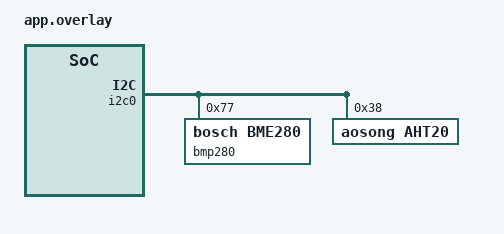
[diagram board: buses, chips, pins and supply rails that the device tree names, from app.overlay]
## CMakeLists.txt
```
cmake_minimum_required(VERSION 3.20.0)

find_package(Zephyr REQUIRED HINTS $ENV{ZEPHYR_BASE})

project(zigbee_weather)

target_sources(app PRIVATE
    src/main.c
)
```

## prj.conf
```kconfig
CONFIG_I2C=y
CONFIG_SENSOR=y
CONFIG_ADC=y

CONFIG_GPIO=y

CONFIG_PRINTK=y
CONFIG_CONSOLE=y
CONFIG_SERIAL=y

CONFIG_BUILD_OUTPUT_UF2=y

CONFIG_ZIGBEE_ADD_ON=y
CONFIG_ZIGBEE_APP_UTILS=y
CONFIG_ZIGBEE_ROLE_END_DEVICE=y
CONFIG_ZIGBEE_FACTORY_RESET=y
CONFIG_ZIGBEE_TC_REJOIN_ENABLED=y
CONFIG_ZIGBEE_NVRAM_PAGE_COUNT=2
CONFIG_ZIGBEE_CHANNEL_SELECTION_MODE_MULTI=y
CONFIG_ZIGBEE_CHANNEL_MASK=0x07FFF800

CONFIG_ZBOSS_DEFAULT_THREAD_STACK_SIZE=5120

CONFIG_MAIN_THREAD_PRIORITY=7
CONFIG_HEAP_MEM_POOL_SIZE=2048

CONFIG_LOG=y
CONFIG_LOG_MODE_DEFERRED=y
CONFIG_LOG_BACKEND_UART=y
CONFIG_LOG_DEFAULT_LEVEL=3
CONFIG_LOG_PROCESS_THREAD_STACK_SIZE=2048
```

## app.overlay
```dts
&i2c0 {
    status = "okay";

    bmp280: bmp280@77 {
        compatible = "bosch,bme280";
        reg = <0x77>;
    };

    aht20: aht20@38 {
        compatible = "aosong,aht20";
        reg = <0x38>;
    };
};

&flash0 {
    partitions {
        compatible = "fixed-partitions";
        #address-cells = <1>;
        #size-cells = <1>;

        /*
         * ZBOSS NVRAM:
         * 0x8000 = 32 KB
         * 2 logical pages -> 16 KB each
         * 16 KB is a multiple of the nRF52840 4 KB flash page.
         */
        zboss_nvram: partition@ec000 {
            label = "zboss_nvram";
            reg = <0x000ec000 0x00008000>;
        };

        zboss_product_config: partition@f4000 {
            label = "zboss_product_config";
            reg = <0x000f4000 0x00001000>;
        };
    };
};
```

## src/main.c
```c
#include <zephyr/kernel.h>
#include <zephyr/device.h>
#include <zephyr/drivers/i2c.h>
#include <zephyr/drivers/sensor.h>
#include <zephyr/drivers/adc.h>
#include <zephyr/drivers/gpio.h>
#include <zephyr/dt-bindings/adc/nrf-saadc.h>
#include <zephyr/logging/log.h>

#include <zboss_api.h>
#include <zboss_api_addons.h>
#include <zb_nrf_platform.h>

#include <zcl/zb_zcl_common.h>
#include <zcl/zb_zcl_basic.h>
#include <zcl/zb_zcl_temp_measurement.h>
#include <zcl/zb_zcl_pressure_measurement.h>
#include <zcl/zb_zcl_rel_humidity_measurement.h>
#include <zcl/zb_zcl_power_config.h>
#include <zcl/zb_zcl_poll_control.h>
#include <zcl/zb_zcl_reporting.h>

#include <zigbee/zigbee_app_utils.h>

#include <string.h>

LOG_MODULE_REGISTER(weather, LOG_LEVEL_INF);

/* --------------------------------------------------------------------------
 * Hardware
 * -------------------------------------------------------------------------- */

#define I2C_NODE DT_NODELABEL(i2c0)
#define BMP280_NODE DT_NODELABEL(bmp280)
#define ADC_NODE DT_NODELABEL(adc)

#define AHT20_ADDR DT_REG_ADDR(DT_NODELABEL(aht20))
#define AHT20_CMD_TRIGGER 0xAC

#define ADC_RESOLUTION 14

/* Button for factory reset */
#define BUTTON_NODE DT_ALIAS(sw0)
static const struct gpio_dt_spec button_gpio = 
    GPIO_DT_SPEC_GET_OR(BUTTON_NODE, gpios, {0});

#define BUTTON_PRESS_TIME_MS 3000
#define BUTTON_CHECK_INTERVAL_MS 50

/* --------------------------------------------------------------------------
 * Zigbee
 * -------------------------------------------------------------------------- */

#define WEATHER_ENDPOINT 1
#define WEATHER_IN_CLUSTER_COUNT 5
#define WEATHER_OUT_CLUSTER_COUNT 0

/* --------------------------------------------------------------------------
 * Application
 * -------------------------------------------------------------------------- */

#define MEASUREMENT_INTERVAL_SECONDS 15

/* --------------------------------------------------------------------------
 * Battery
 * -------------------------------------------------------------------------- */

#define BATTERY_LOW_WARNING_MV 2700

/* --------------------------------------------------------------------------
 * Persistent Zigbee configuration
 * -------------------------------------------------------------------------- */

#define ERASE_PERSISTENT_CONFIG ZB_FALSE

/* --------------------------------------------------------------------------
 * ZCL attributes
 * -------------------------------------------------------------------------- */

static zb_int16_t temperature;
static zb_int16_t pressure;
static zb_uint16_t humidity;

static zb_uint16_t battery_voltage;
static zb_uint8_t battery_percentage_remaining = 0xFF;
static zb_uint8_t battery_size = 0xFF;
static zb_uint8_t battery_quantity = 1;
static zb_uint16_t battery_rated_voltage = 3300;
static zb_uint8_t battery_alarm_mask = 0;
static zb_uint16_t battery_voltage_min_threshold =
	BATTERY_LOW_WARNING_MV;
static zb_uint8_t battery_voltage_threshold1 = 0;
static zb_uint8_t battery_voltage_threshold2 = 0;
static zb_uint8_t battery_voltage_threshold3 = 0;
static zb_uint8_t battery_percentage_min_threshold = 0;
static zb_uint8_t battery_percentage_threshold1 = 0;
static zb_uint8_t battery_percentage_threshold2 = 0;
static zb_uint8_t battery_percentage_threshold3 = 0;
static zb_uint32_t battery_alarm_state = 0;

/* --------------------------------------------------------------------------
 * Basic Cluster Strings (для корректного определения в z2m)
 * -------------------------------------------------------------------------- */
static zb_uint8_t manufacturer_name[] = { 7, 'C', 't', 'h', 'u', 'l', 'h', 'u' };
static zb_uint8_t model_identifier[] = { 12, 'R', 'l', 'y', 'e', 'h', 'S', 't', 'a', 't', 'i', 'o', 'n' };
static zb_uint8_t date_code[] = { 8, '2', '0', '2', '6', '0', '9', '2', '8' };
static zb_uint8_t sw_build_id[] = { 5, '1', '.', '0', '.', '0' };
static zb_uint8_t location[] = { 2, 'R', 'U' };

/* --------------------------------------------------------------------------
 * ZCL attribute lists
 * -------------------------------------------------------------------------- */

ZB_ZCL_DECLARE_BASIC_ATTRIB_LIST_EXT(
	basic_attr_list,
	3,                                  // 1. ZCL version
	0,                                  // 2. App device version
	ZB_ZCL_BASIC_POWER_SOURCE_BATTERY,  // 3. Power source (0x03 = Battery)
	1,                                  // 4. HW version
	manufacturer_name,                  // 5. Manufacturer name
	model_identifier,                   // 6. Model identifier
	date_code,                          // 7. Date code
	sw_build_id,                        // 8. SW build ID
	0,                                  // 9. Image type
	2,                                  // 10. Stack version
	location                            // 11. Location (всего 12 аргументов с basic_attr_list)
);


ZB_ZCL_DECLARE_TEMP_MEASUREMENT_ATTRIB_LIST(
	temperature_attr_list,
	&temperature,
	NULL,
	NULL,
	NULL
);

ZB_ZCL_DECLARE_PRESSURE_MEASUREMENT_ATTRIB_LIST(
	pressure_attr_list,
	&pressure,
	NULL,
	NULL,
	NULL
);

ZB_ZCL_DECLARE_REL_HUMIDITY_MEASUREMENT_ATTRIB_LIST(
	humidity_attr_list,
	&humidity,
	NULL,
	NULL
);



ZB_ZCL_DECLARE_POWER_CONFIG_BATTERY_ATTRIB_LIST_EXT(
	power_config_attr_list,
	&battery_voltage,
	&battery_size,
	&battery_quantity,
	&battery_rated_voltage,
	&battery_alarm_mask,
	&battery_voltage_min_threshold,
	&battery_percentage_remaining,
	&battery_voltage_threshold1,
	&battery_voltage_threshold2,
	&battery_voltage_threshold3,
	&battery_percentage_min_threshold,
	&battery_percentage_threshold1,
	&battery_percentage_threshold2,
	&battery_percentage_threshold3,
	&battery_alarm_state
);

/* --------------------------------------------------------------------------
 * Cluster list
 * -------------------------------------------------------------------------- */

static zb_zcl_cluster_desc_t cluster_list[] = {
	ZB_ZCL_CLUSTER_DESC(
		ZB_ZCL_CLUSTER_ID_BASIC,
		ZB_ZCL_ARRAY_SIZE(
			basic_attr_list,
			zb_zcl_attr_t
		),
		basic_attr_list,
		ZB_ZCL_CLUSTER_SERVER_ROLE,
		ZB_ZCL_MANUF_CODE_INVALID
	),

	ZB_ZCL_CLUSTER_DESC(
		ZB_ZCL_CLUSTER_ID_TEMP_MEASUREMENT,
		ZB_ZCL_ARRAY_SIZE(
			temperature_attr_list,
			zb_zcl_attr_t
		),
		temperature_attr_list,
		ZB_ZCL_CLUSTER_SERVER_ROLE,
		ZB_ZCL_MANUF_CODE_INVALID
	),

	ZB_ZCL_CLUSTER_DESC(
		ZB_ZCL_CLUSTER_ID_PRESSURE_MEASUREMENT,
		ZB_ZCL_ARRAY_SIZE(
			pressure_attr_list,
			zb_zcl_attr_t
		),
		pressure_attr_list,
		ZB_ZCL_CLUSTER_SERVER_ROLE,
		ZB_ZCL_MANUF_CODE_INVALID
	),

	ZB_ZCL_CLUSTER_DESC(
		ZB_ZCL_CLUSTER_ID_REL_HUMIDITY_MEASUREMENT,
		ZB_ZCL_ARRAY_SIZE(
			humidity_attr_list,
			zb_zcl_attr_t
		),
		humidity_attr_list,
		ZB_ZCL_CLUSTER_SERVER_ROLE,
		ZB_ZCL_MANUF_CODE_INVALID
	),

	ZB_ZCL_CLUSTER_DESC(
		ZB_ZCL_CLUSTER_ID_POWER_CONFIG,
		ZB_ZCL_ARRAY_SIZE(
			power_config_attr_list,
			zb_zcl_attr_t
		),
		power_config_attr_list,
		ZB_ZCL_CLUSTER_SERVER_ROLE,
		ZB_ZCL_MANUF_CODE_INVALID
	)
};

/* --------------------------------------------------------------------------
 * Zigbee simple descriptor
 * -------------------------------------------------------------------------- */

typedef ZB_PACKED_PRE struct weather_simple_desc_s {
	zb_uint8_t endpoint;
	zb_uint16_t app_profile_id;
	zb_uint16_t app_device_id;
	zb_bitfield_t app_device_version : 4;
	zb_bitfield_t reserved : 4;
	zb_uint8_t app_input_cluster_count;
	zb_uint8_t app_output_cluster_count;
	zb_uint16_t app_cluster_list[
		WEATHER_IN_CLUSTER_COUNT +
		WEATHER_OUT_CLUSTER_COUNT
	];
} ZB_PACKED_STRUCT weather_simple_desc_t;

static weather_simple_desc_t simple_desc_weather = {
	WEATHER_ENDPOINT,
	ZB_AF_HA_PROFILE_ID,
	ZB_HA_TEMPERATURE_SENSOR_DEVICE_ID,
	0,
	0,
	WEATHER_IN_CLUSTER_COUNT,
	WEATHER_OUT_CLUSTER_COUNT,
	{
		ZB_ZCL_CLUSTER_ID_BASIC,
		ZB_ZCL_CLUSTER_ID_TEMP_MEASUREMENT,
		ZB_ZCL_CLUSTER_ID_PRESSURE_MEASUREMENT,
		ZB_ZCL_CLUSTER_ID_REL_HUMIDITY_MEASUREMENT,
		ZB_ZCL_CLUSTER_ID_POWER_CONFIG
	}
};

/* --------------------------------------------------------------------------
 * Zigbee reporting
 * -------------------------------------------------------------------------- */

#define WEATHER_REPORT_ATTR_COUNT 4

ZBOSS_DEVICE_DECLARE_REPORTING_CTX(
	weather_reporting_info,
	WEATHER_REPORT_ATTR_COUNT
);

/* --------------------------------------------------------------------------
 * Endpoint
 * -------------------------------------------------------------------------- */

ZB_AF_DECLARE_ENDPOINT_DESC(
	weather_endpoint,
	WEATHER_ENDPOINT,
	ZB_AF_HA_PROFILE_ID,
	0,
	NULL,
	ZB_ZCL_ARRAY_SIZE(
		cluster_list,
		zb_zcl_cluster_desc_t
	),
	cluster_list,
	(zb_af_simple_desc_1_1_t *)&simple_desc_weather,
	WEATHER_REPORT_ATTR_COUNT,
	weather_reporting_info,
	0,
	NULL
);

/* --------------------------------------------------------------------------
 * Device context
 * -------------------------------------------------------------------------- */

ZBOSS_DECLARE_DEVICE_CTX_1_EP(
	weather_device_ctx,
	weather_endpoint
);

/* --------------------------------------------------------------------------
 * AHT20
 * -------------------------------------------------------------------------- */

static int read_aht20(const struct device *i2c)
{
	uint8_t command[3] = {
		AHT20_CMD_TRIGGER,
		0x33,
		0x00
	};

	uint8_t raw[7];

	int ret = i2c_write(
		i2c,
		command,
		sizeof(command),
		AHT20_ADDR
	);

	if (ret) {
		LOG_ERR("AHT20 write failed: %d", ret);
		return ret;
	}

	k_msleep(120);

	ret = i2c_read(
		i2c,
		raw,
		sizeof(raw),
		AHT20_ADDR
	);

	if (ret) {
		LOG_ERR("AHT20 read failed: %d", ret);
		return ret;
	}

	uint32_t raw_humidity =
		((uint32_t)raw[1] << 12) |
		((uint32_t)raw[2] << 4) |
		((uint32_t)raw[3] >> 4);

	uint32_t raw_temperature =
		((uint32_t)(raw[3] & 0x0F) << 16) |
		((uint32_t)raw[4] << 8) |
		raw[5];

	uint32_t humidity_x100 =
		((uint64_t)raw_humidity * 10000ULL + 524288ULL) /
		1048576ULL;

	int32_t temperature_x100 =
		(((int64_t)raw_temperature * 20000LL + 524288LL) /
		1048576LL) -
		5000LL;

	temperature = (zb_int16_t)temperature_x100;
	humidity = (zb_uint16_t)humidity_x100;

	return 0;
}

/* --------------------------------------------------------------------------
 * BMP280
 * -------------------------------------------------------------------------- */

static int read_bmp280(const struct device *bmp280)
{
	struct sensor_value pressure_value;

	int ret = sensor_sample_fetch(bmp280);

	if (ret) {
		LOG_ERR("BMP280 sample fetch failed: %d", ret);
		return ret;
	}

	ret = sensor_channel_get(
		bmp280,
		SENSOR_CHAN_PRESS,
		&pressure_value
	);

	if (ret) {
		LOG_ERR("BMP280 pressure read failed: %d", ret);
		return ret;
	}

	int32_t pressure_x10 =
        pressure_value.val1 * 10 +
        (pressure_value.val2 + 50000) / 100000;

    pressure = (zb_int16_t)pressure_x10;

	return 0;
}

/* --------------------------------------------------------------------------
 * VDD
 * -------------------------------------------------------------------------- */

static int read_vdd(const struct device *adc, int32_t *vdd_mv)
{

	int16_t sample = 0;

	struct adc_sequence sequence = {
		.channels = BIT(0),
		.buffer = &sample,
		.buffer_size = sizeof(sample),
		.resolution = ADC_RESOLUTION,
	};

	int ret = adc_read(
		adc,
		&sequence
	);

	if (ret) {
		LOG_ERR("ADC read failed: %d", ret);
		return ret;
	}

	*vdd_mv =
		((int32_t)sample * 3600 + (1 << (ADC_RESOLUTION - 1))) /
		(1 << ADC_RESOLUTION);

		battery_voltage = (zb_uint16_t)(*vdd_mv);

	if (*vdd_mv < BATTERY_LOW_WARNING_MV) {
		LOG_WRN(
			"Low battery voltage: %d.%03d V",
			*vdd_mv / 1000,
			*vdd_mv % 1000
		);
	}

	return 0;
}

/* --------------------------------------------------------------------------
 * Configure Zigbee reporting
 * -------------------------------------------------------------------------- */

static void configure_reporting(void)
{
	zb_zcl_reporting_info_t reporting;

	/* Temperature */

	memset(&reporting, 0, sizeof(reporting));

	reporting.direction =
		ZB_ZCL_CONFIGURE_REPORTING_SEND_REPORT;
	reporting.ep = WEATHER_ENDPOINT;
	reporting.cluster_id =
		ZB_ZCL_CLUSTER_ID_TEMP_MEASUREMENT;
	reporting.cluster_role =
		ZB_ZCL_CLUSTER_SERVER_ROLE;
	reporting.attr_id =
		ZB_ZCL_ATTR_TEMP_MEASUREMENT_VALUE_ID;
	reporting.dst.short_addr = 0x0000;
	reporting.dst.endpoint = 1;
	reporting.dst.profile_id = ZB_AF_HA_PROFILE_ID;
	reporting.u.send_info.min_interval = 0;
	reporting.u.send_info.max_interval =
		MEASUREMENT_INTERVAL_SECONDS;
	reporting.u.send_info.delta.u16 = 1;

	zb_zcl_put_reporting_info(
		&reporting,
		ZB_TRUE
	);

	/* Pressure */

	memset(&reporting, 0, sizeof(reporting));

	reporting.direction =
		ZB_ZCL_CONFIGURE_REPORTING_SEND_REPORT;
	reporting.ep = WEATHER_ENDPOINT;
	reporting.cluster_id =
		ZB_ZCL_CLUSTER_ID_PRESSURE_MEASUREMENT;
	reporting.cluster_role =
		ZB_ZCL_CLUSTER_SERVER_ROLE;
	reporting.attr_id =
		ZB_ZCL_ATTR_PRESSURE_MEASUREMENT_VALUE_ID;
	reporting.dst.short_addr = 0x0000;
	reporting.dst.endpoint = 1;
	reporting.dst.profile_id = ZB_AF_HA_PROFILE_ID;
	reporting.u.send_info.min_interval = 0;
	reporting.u.send_info.max_interval =
		MEASUREMENT_INTERVAL_SECONDS;
	reporting.u.send_info.delta.u16 = 1;

	zb_zcl_put_reporting_info(
		&reporting,
		ZB_TRUE
	);

	/* Relative humidity */

	memset(&reporting, 0, sizeof(reporting));

	reporting.direction =
		ZB_ZCL_CONFIGURE_REPORTING_SEND_REPORT;
	reporting.ep = WEATHER_ENDPOINT;
	reporting.cluster_id =
		ZB_ZCL_CLUSTER_ID_REL_HUMIDITY_MEASUREMENT;
	reporting.cluster_role =
		ZB_ZCL_CLUSTER_SERVER_ROLE;
	reporting.attr_id =
		ZB_ZCL_ATTR_REL_HUMIDITY_MEASUREMENT_VALUE_ID;
	reporting.dst.short_addr = 0x0000;
	reporting.dst.endpoint = 1;
	reporting.dst.profile_id = ZB_AF_HA_PROFILE_ID;
	reporting.u.send_info.min_interval = 0;
	reporting.u.send_info.max_interval =
		MEASUREMENT_INTERVAL_SECONDS;
	reporting.u.send_info.delta.u16 = 1;

	zb_zcl_put_reporting_info(
		&reporting,
		ZB_TRUE
	);

	/* Battery voltage */

	memset(&reporting, 0, sizeof(reporting));

	reporting.direction =
		ZB_ZCL_CONFIGURE_REPORTING_SEND_REPORT;
	reporting.ep = WEATHER_ENDPOINT;
	reporting.cluster_id =
		ZB_ZCL_CLUSTER_ID_POWER_CONFIG;
	reporting.cluster_role =
		ZB_ZCL_CLUSTER_SERVER_ROLE;
	reporting.attr_id =
		ZB_ZCL_ATTR_POWER_CONFIG_BATTERY_VOLTAGE_ID;
	reporting.dst.short_addr = 0x0000;
	reporting.dst.endpoint = 1;
	reporting.dst.profile_id = ZB_AF_HA_PROFILE_ID;
	reporting.u.send_info.min_interval = 0;
	reporting.u.send_info.max_interval =
		MEASUREMENT_INTERVAL_SECONDS;
	reporting.u.send_info.delta.u16 = 1;

	zb_zcl_put_reporting_info(
		&reporting,
		ZB_TRUE
	);

	LOG_INF(
		"Reporting configured: interval=%d s",
		MEASUREMENT_INTERVAL_SECONDS
	);
}

/* --------------------------------------------------------------------------
 * Button handler
 * -------------------------------------------------------------------------- */

static void button_handler(struct k_work *work)
{
	static uint32_t press_start_time = 0;
	static bool button_pressed = false;
	
	if (gpio_pin_get_dt(&button_gpio)) {
		if (!button_pressed) {
			button_pressed = true;
			press_start_time = k_uptime_get_32();
			LOG_INF("Button pressed");
		} else {
			uint32_t press_duration = 
				k_uptime_get_32() - press_start_time;
			
			if (press_duration >= BUTTON_PRESS_TIME_MS) {
				LOG_INF("Long press detected - factory reset");
				button_pressed = false;
				
				zb_bdb_reset_via_local_action(0);
			}
		}
	} else {
		if (button_pressed) {
			uint32_t press_duration = 
				k_uptime_get_32() - press_start_time;
			LOG_INF("Button released after %d ms", press_duration);
			button_pressed = false;
		}
	}
}

K_WORK_DEFINE(button_work, button_handler);

static void button_timer_handler(struct k_timer *timer)
{
	k_work_submit(&button_work);
}

K_TIMER_DEFINE(button_timer, button_timer_handler, NULL);

/* --------------------------------------------------------------------------
 * Zigbee signal handler
 * -------------------------------------------------------------------------- */

void zboss_signal_handler(zb_uint8_t param)
{
	zb_zdo_app_signal_hdr_t *sig_hndler = NULL;

	zb_zdo_app_signal_type_t sig =
		zb_get_app_signal(
			param,
			&sig_hndler
		);

	zb_ret_t status =
		ZB_GET_APP_SIGNAL_STATUS(param);

	switch (sig) {
	case ZB_BDB_SIGNAL_STEERING:

		if (status == RET_OK) {
			LOG_INF("Joined Zigbee network");
			configure_reporting();
		} else {
			LOG_WRN(
				"Network steering failed: %d",
				status
			);

			bdb_start_top_level_commissioning(
				ZB_BDB_NETWORK_STEERING
			);
		}

		break;

	case ZB_BDB_SIGNAL_DEVICE_REBOOT:

		if (status == RET_OK) {
			LOG_INF("Zigbee network restored");
			configure_reporting();
		} else {
			LOG_WRN(
				"Zigbee network restore failed: %d",
				status
			);

			zigbee_default_signal_handler(
				param
			);
		}

		break;

	default:

		zigbee_default_signal_handler(
			param
		);

		break;
	}
}

/* --------------------------------------------------------------------------
 * Main
 * -------------------------------------------------------------------------- */

int main(void)
{
	const struct device *i2c =
		DEVICE_DT_GET(I2C_NODE);

	const struct device *bmp280 =
		DEVICE_DT_GET(BMP280_NODE);

	const struct device *adc =
		DEVICE_DT_GET(ADC_NODE);

	if (!device_is_ready(i2c)) {
		LOG_ERR("I2C device is not ready");
		return 0;
	}

	if (!device_is_ready(bmp280)) {
		LOG_ERR("BMP280 device is not ready");
		return 0;
	}

	if (!device_is_ready(adc)) {
		LOG_ERR("ADC device is not ready");
		return 0;
	}

		/* Initialize button on pin 0.24 */
	if (button_gpio.port) {
		if (!device_is_ready(button_gpio.port)) {
			LOG_ERR("Button GPIO not ready");
			return 0;
		}
		
		gpio_pin_configure_dt(&button_gpio, GPIO_INPUT);
		k_timer_start(&button_timer, K_MSEC(BUTTON_CHECK_INTERVAL_MS), 
		              K_MSEC(BUTTON_CHECK_INTERVAL_MS));
		LOG_INF("Button initialized on pin 0.24");
	}

	/* Setup ADC channel once */
	struct adc_channel_cfg channel_cfg = {
		.gain = ADC_GAIN_1_6,
		.reference = ADC_REF_INTERNAL,
		.acquisition_time = ADC_ACQ_TIME_DEFAULT,
		.channel_id = 0,
		.input_positive = NRF_SAADC_VDD,
	};

	int ret = adc_channel_setup(adc, &channel_cfg);
	if (ret) {
		LOG_ERR("ADC channel setup failed: %d", ret);
		return 0;
	}

	LOG_INF("Zigbee weather sensor started");

	LOG_INF(
		"Measurement interval: %d s",
		MEASUREMENT_INTERVAL_SECONDS
	);

	LOG_INF("R'lyeh Station sensors 🐙 : AHT20@0x38 BMP280@0x77");

	LOG_INF(
		"Battery warning threshold: %d.%03d V",
		BATTERY_LOW_WARNING_MV / 1000,
		BATTERY_LOW_WARNING_MV % 1000
	);

	zigbee_erase_persistent_storage(
		ERASE_PERSISTENT_CONFIG
	);

	ZB_AF_REGISTER_DEVICE_CTX(
		&weather_device_ctx
	);

	zigbee_enable();

	LOG_INF("Zigbee stack started");

	while (1) {
		int32_t vdd_mv = 0;

		int vdd_ret;
		int aht20_ret;
		int bmp280_ret;

		vdd_ret = read_vdd(
			adc,
			&vdd_mv
		);

		aht20_ret = read_aht20(
			i2c
		);

		bmp280_ret = read_bmp280(
			bmp280
		);

		if (vdd_ret == 0 &&
		    aht20_ret == 0 &&
		    bmp280_ret == 0) {

			LOG_INF(
				"T=%d.%02d C RH=%u.%02u %% "
				"P=%d.%01d kPa "
				"VDD=%d.%03d V ",
				temperature / 100,
				temperature % 100,
				humidity / 100,
				humidity % 100,
				pressure / 10,
				pressure % 10,
				vdd_mv / 1000,
				vdd_mv % 1000
			);

			/* Mark attributes for reporting */
			ZB_ZCL_SET_ATTRIBUTE(
				WEATHER_ENDPOINT,
				ZB_ZCL_CLUSTER_ID_TEMP_MEASUREMENT,
				ZB_ZCL_CLUSTER_SERVER_ROLE,
				ZB_ZCL_ATTR_TEMP_MEASUREMENT_VALUE_ID,
				(zb_uint8_t *)&temperature,
				ZB_FALSE
			);

			ZB_ZCL_SET_ATTRIBUTE(
				WEATHER_ENDPOINT,
				ZB_ZCL_CLUSTER_ID_PRESSURE_MEASUREMENT,
				ZB_ZCL_CLUSTER_SERVER_ROLE,
				ZB_ZCL_ATTR_PRESSURE_MEASUREMENT_VALUE_ID,
				(zb_uint8_t *)&pressure,
				ZB_FALSE
			);

			ZB_ZCL_SET_ATTRIBUTE(
				WEATHER_ENDPOINT,
				ZB_ZCL_CLUSTER_ID_REL_HUMIDITY_MEASUREMENT,
				ZB_ZCL_CLUSTER_SERVER_ROLE,
				ZB_ZCL_ATTR_REL_HUMIDITY_MEASUREMENT_VALUE_ID,
				(zb_uint8_t *)&humidity,
				ZB_FALSE
			);

			ZB_ZCL_SET_ATTRIBUTE(
				WEATHER_ENDPOINT,
				ZB_ZCL_CLUSTER_ID_POWER_CONFIG,
				ZB_ZCL_CLUSTER_SERVER_ROLE,
				ZB_ZCL_ATTR_POWER_CONFIG_BATTERY_VOLTAGE_ID,
				(zb_uint8_t *)&battery_voltage,
				ZB_FALSE
			);

		} else {
			LOG_ERR(
				"Measurement failed: "
				"VDD=%d AHT20=%d BMP280=%d",
				vdd_ret,
				aht20_ret,
				bmp280_ret
			);
		}

		k_sleep(
			K_SECONDS(
				MEASUREMENT_INTERVAL_SECONDS
			)
		);
	}

	return 0;
}
```
